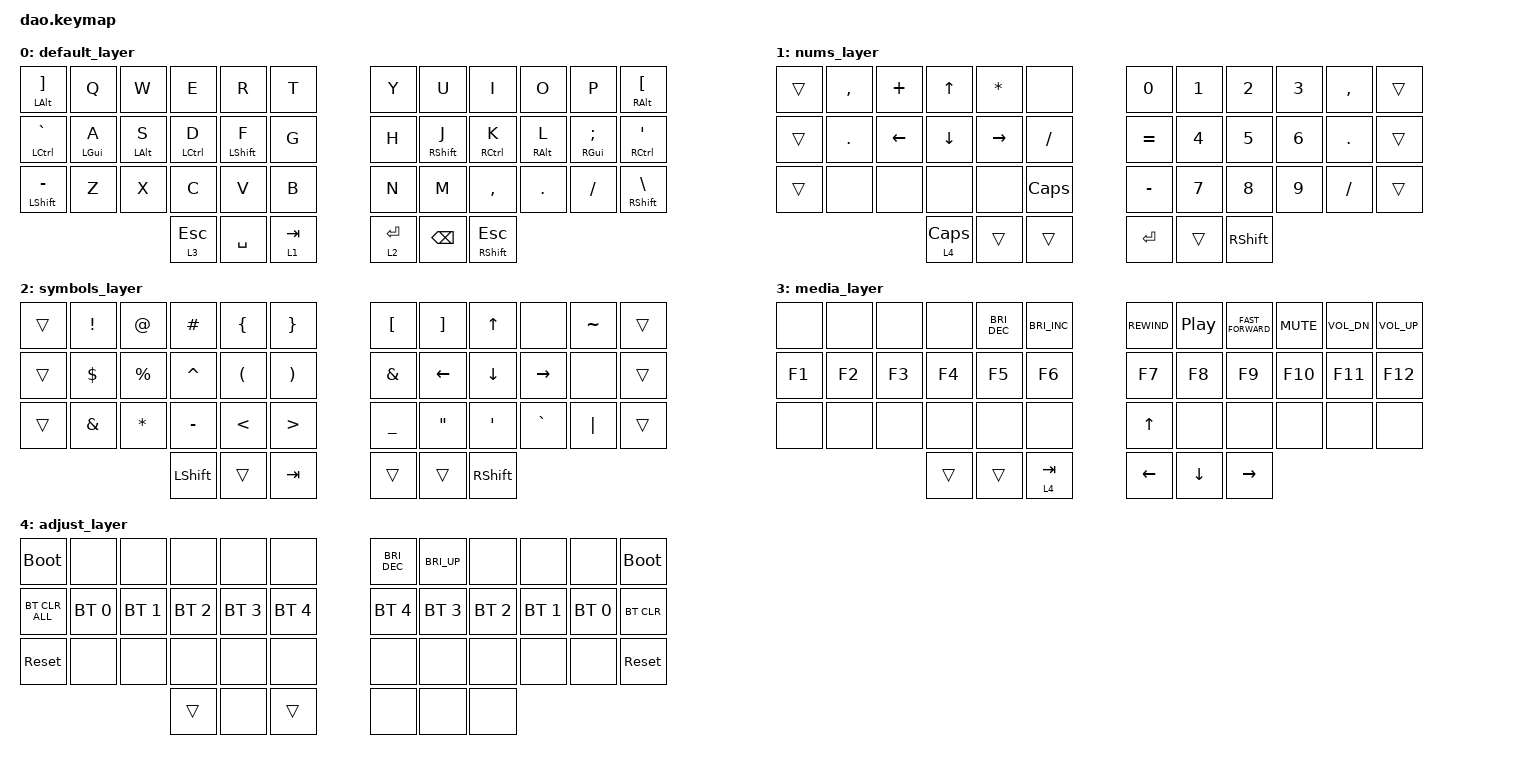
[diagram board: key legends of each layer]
/*
 * Copyright (c) 2021 Rafael Yumagulov
 *
 * SPDX-License-Identifier: MIT
 */

#include <behaviors.dtsi>
#include <dt-bindings/zmk/bt.h>
#include <dt-bindings/zmk/keys.h>

#define DEF 0
#define LWR 1
#define RSE 2
#define ADJ 3

&lt { quick_tap_ms = <200>; };

&mt { quick_tap_ms = <200>; };

/ {
    chosen {
        zmk,matrix_transform = &default_transform;

        // zmk,matrix_transform = &extra_keys_transform;
    };
};

/ {
    behaviors {
        hml: homerow_mods_left {
            compatible = "zmk,behavior-hold-tap";
            label = "HML";
            bindings = <&kp>, <&kp>;

            #binding-cells = <2>;
            tapping-term-ms = <280>;
            quick-tap-ms = <280>;
            require-prior-idle-ms = <175>;
            flavor = "balanced";
            hold-trigger-on-release;
            hold-trigger-key-positions = <6 7 8 9 10 11 18 19 20 21 22 23 30 31 32 33 34 35 36 37 38 39 40 41>;
        };

        hmsl: homerow_mods_shift_left {
            compatible = "zmk,behavior-hold-tap";
            label = "HMSL";
            bindings = <&kp>, <&kp>;

            #binding-cells = <2>;
            tapping-term-ms = <250>;
            quick-tap-ms = <250>;
            flavor = "balanced";
            hold-trigger-on-release;
            hold-trigger-key-positions = <6 7 8 9 10 11 18 19 20 21 22 23 30 31 32 33 34 35 36 37 38 39 40 41>;
        };

        hmr: homerow_mods_right {
            compatible = "zmk,behavior-hold-tap";
            label = "HMR";
            bindings = <&kp>, <&kp>;

            #binding-cells = <2>;
            tapping-term-ms = <280>;
            quick-tap-ms = <280>;
            require-prior-idle-ms = <175>;
            flavor = "balanced";
            hold-trigger-on-release;
            hold-trigger-key-positions = <0 1 2 3 4 5 12 13 14 15 16 17 24 25 26 27 28 29 36 37 38 39 40 41>;
        };

        hmsr: homerow_mods_shift_right {
            compatible = "zmk,behavior-hold-tap";
            label = "HMSR";
            bindings = <&kp>, <&kp>;

            #binding-cells = <2>;
            tapping-term-ms = <250>;
            quick-tap-ms = <250>;
            flavor = "balanced";
            hold-trigger-on-release;
            hold-trigger-key-positions = <0 1 2 3 4 5 12 13 14 15 16 17 24 25 26 27 28 29 36 37 38 39 40 41>;
        };
    };

    combos {
        compatible = "zmk,combos";

        combo_ctrl_a {
            bindings = <&kp RC(A)>;
            key-positions = <7 8>;
            layers = <0>;
        };

        combo_toggle_media {
            bindings = <&tog 3>;
            key-positions = <4 5>;
        };

        combo_app1 {
            bindings = <&kp LG(N1)>;
            key-positions = <27 28>;
        };

        combo_app2 {
            bindings = <&kp LG(N2)>;
            key-positions = <31 32>;
        };

        combo_app3 {
            bindings = <&kp LG(N3)>;
            key-positions = <31 32 33>;
        };

        combo_app4 {
            bindings = <&kp LG(N4)>;
            key-positions = <26 27 28>;
        };

        combo_app5 {
            bindings = <&kp LG(N5)>;
            key-positions = <2 3 4>;
        };

        combo_app6 {
            bindings = <&kp LG(N6)>;
            key-positions = <7 8 9>;
        };
    };

    keymap {
        compatible = "zmk,keymap";

        default_layer {
            bindings = <
  &mt LALT RBKT     &kp Q        &kp W        &kp E         &kp R          &kp T        &kp Y      &kp U          &kp I          &kp O        &kp P                &mt RALT LBKT
  &mt LCTRL GRAVE   &hml LGUI A  &hml LALT S  &hml LCTRL D  &hmsl LSHFT F  &kp G        &kp H      &hmsr RSHFT J  &hmr RCTRL K   &hmr RALT L  &hmr RGUI SEMICOLON  &mt RCTRL SQT
  &mt LSHIFT MINUS  &kp Z        &kp X        &kp C         &kp V          &kp B        &kp N      &kp M          &kp COMMA      &kp DOT      &kp FSLH             &mt RSHIFT BSLH
                                              &lt 3 ESC     &kp SPACE      &lt 1 TAB    &lt 2 RET  &kp BACKSPACE  &mt RSHFT ESC
            >;
        };

        nums_layer {
            bindings = <
  &trans  &kp COMMA  &kp PLUS  &kp UP      &kp ASTRK  &none       &kp N0     &kp N1  &kp N2      &kp N3  &kp COMMA  &trans
  &trans  &kp DOT    &kp LEFT  &kp DOWN    &kp RIGHT  &kp FSLH    &kp EQUAL  &kp N4  &kp N5      &kp N6  &kp DOT    &trans
  &trans  &none      &none     &none       &none      &kp CAPS    &kp MINUS  &kp N7  &kp N8      &kp N9  &kp FSLH   &trans
                               &lt 4 CAPS  &trans     &trans      &kp RET    &trans  &kp RSHIFT
            >;
        };

        symbols_layer {
            bindings = <
  &trans  &kp EXCL    &kp AT       &kp POUND  &kp LEFT_BRACE  &kp RIGHT_BRACE    &kp LBKT   &kp RBKT  &kp UP      &none      &kp TILDE  &trans
  &trans  &kp DOLLAR  &kp PERCENT  &kp CARET  &kp LPAR        &kp RPAR           &kp AMPS   &kp LEFT  &kp DOWN    &kp RIGHT  &none      &trans
  &trans  &kp AMPS    &kp ASTRK    &kp MINUS  &kp LT          &kp GT             &kp UNDER  &kp DQT   &kp SQT     &kp GRAVE  &kp PIPE   &trans
                                   &kp LSHFT  &trans          &kp TAB            &trans     &trans    &kp RSHIFT
            >;
        };

        media_layer {
            bindings = <
  &none   &none   &none   &none   &kp C_BRI_DEC  &kp C_BRI_INC    &kp C_REWIND    &kp C_PLAY_PAUSE  &kp C_FAST_FORWARD  &kp C_MUTE  &kp C_VOL_DN  &kp C_VOL_UP
  &kp F1  &kp F2  &kp F3  &kp F4  &kp F5         &kp F6           &kp F7          &kp F8            &kp F9              &kp F10     &kp F11       &kp F12
  &none   &none   &none   &none   &none          &none            &kp UP_ARROW    &none             &none               &none       &none         &none
                          &trans  &trans         &lt 4 TAB        &kp LEFT_ARROW  &kp DOWN_ARROW    &kp RIGHT_ARROW
            >;
        };

        adjust_layer {
            bindings = <
  &bootloader     &none         &none         &none         &none         &none           &kp C_BRI_DEC  &kp C_BRI_UP  &none         &none         &none         &bootloader
  &bt BT_CLR_ALL  &bt BT_SEL 0  &bt BT_SEL 1  &bt BT_SEL 2  &bt BT_SEL 3  &bt BT_SEL 4    &bt BT_SEL 4   &bt BT_SEL 3  &bt BT_SEL 2  &bt BT_SEL 1  &bt BT_SEL 0  &bt BT_CLR
  &sys_reset      &none         &none         &none         &none         &none           &none          &none         &none         &none         &none         &sys_reset
                                              &trans        &none         &trans          &none          &none         &none
            >;
        };
    };
};
